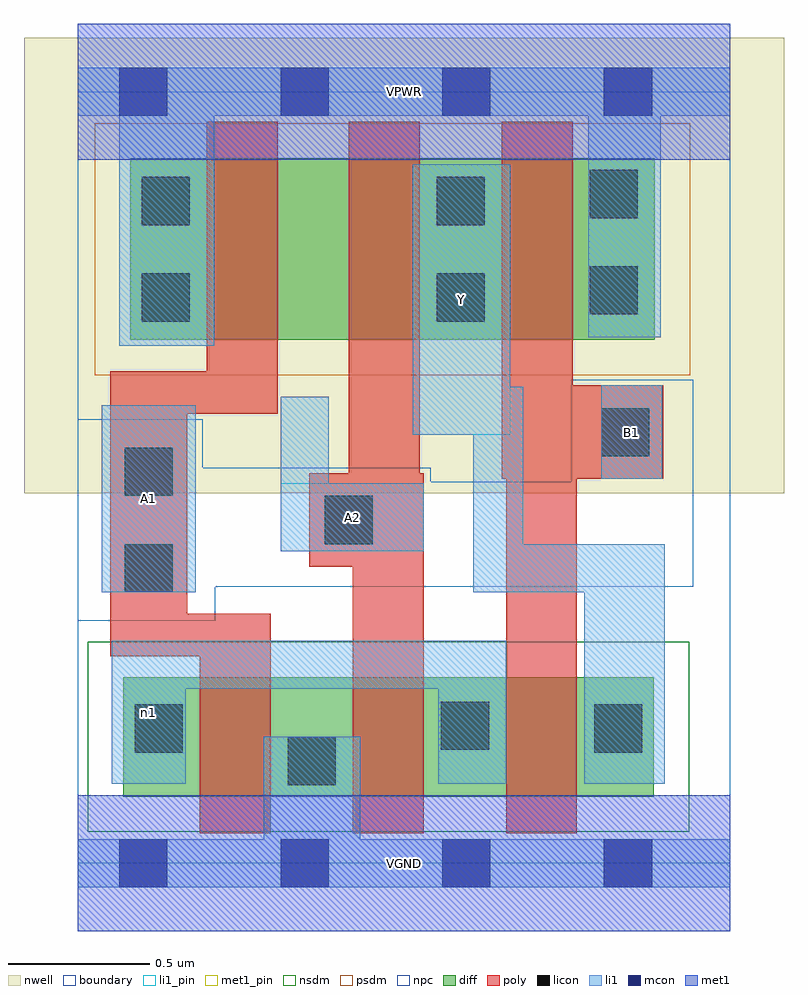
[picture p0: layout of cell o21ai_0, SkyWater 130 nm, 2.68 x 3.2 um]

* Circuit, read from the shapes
.subckt o21ai_0 A1 A2 B1 VGND VPWR Y n1
XM1 VGND A1 n1 VSUBS sky130_fd_pr__nfet_01v8 w=0.42 l=0.25
XM2 n1 A2 VGND VSUBS sky130_fd_pr__nfet_01v8 w=0.42 l=0.25
XM3 Y B1 n1 VSUBS sky130_fd_pr__nfet_01v8 w=0.42 l=0.25
XM4 n2 A1 VPWR n3 sky130_fd_pr__pfet_01v8 w=0.64 l=0.25
XM5 Y A2 n2 n3 sky130_fd_pr__pfet_01v8 w=0.64 l=0.25
XM6 VPWR B1 Y n3 sky130_fd_pr__pfet_01v8 w=0.64 l=0.25
.ends

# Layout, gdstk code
import gdstk
lib = gdstk.Library(unit=1e-6, precision=1e-09)
def R(c, l, rs):  # rectangles x0, y0, x1, y1
    for r in rs: c.add(gdstk.rectangle(r[:2], r[2:], *l))
def A(c, l, x, y, w, h, nx, ny, dx, dy):  # array of equal rectangles
    R(c, l, [(x+i*dx, y+j*dy, x+i*dx+w, y+j*dy+h) for i in range(nx) for j in range(ny)])
nwell = (64, 20)
diff = (65, 20)
poly = (66, 20)
licon = (66, 44)
li1_pin = (67, 16)
li1 = (67, 20)
mcon = (67, 44)
met1_pin = (68, 16)
met1 = (68, 20)
nsdm = (93, 44)
psdm = (94, 20)
npc = (95, 20)
boundary = (235, 4)

o21ai_0 = lib.new_cell('o21ai_0')
R(o21ai_0, nwell, [(-0.19,1.305,2.49,2.91), (0,1.305,2.3,2.91)])
R(o21ai_0, diff, [(0.16,0.235,2.03,0.655), (0.185,1.845,2.035,2.485)])
R(o21ai_0, poly, [(0.43,0.105,0.68,0.88), (0.97,0.105,1.22,1.375), (1.51,0.105,1.76,1.685), (0.115,0.73,0.385,1.735), (0.115,0.73,0.68,0.88), (0.815,1.045,1.22,1.375), (0.955,1.045,1.205,2.615), (1.495,1.355,1.745,2.615), (1.495,1.355,2.065,1.685), (0.115,1.585,0.705,1.735), (0.455,1.585,0.705,2.615)])
R(o21ai_0, licon, [(0.74,0.275,0.91,0.445), (0.2,0.39,0.37,0.56), (1.82,0.39,1.99,0.56), (1.28,0.4,1.45,0.57), (0.165,0.955,0.335,1.125), (0.87,1.125,1.04,1.295), (0.165,1.295,0.335,1.465), (1.845,1.435,2.015,1.605), (0.225,1.91,0.395,2.08), (1.265,1.91,1.435,2.08), (1.805,1.935,1.975,2.105), (0.225,2.25,0.395,2.42), (1.265,2.25,1.435,2.42), (1.805,2.275,1.975,2.445)])
R(o21ai_0, li1_pin, [(0.085,0.955,0.415,1.615), (0.715,1.1,1.22,1.34), (1.845,1.355,2.06,1.685), (1.18,1.51,1.525,2.465)])
R(o21ai_0, li1, [(0,-0.085,2.3,0.085), (0.655,-0.085,0.995,0.445), (0.12,0.28,0.38,0.785), (1.27,0.28,1.51,0.785), (1.785,0.28,2.07,1.125), (0.12,0.615,1.51,0.785), (0.085,0.955,0.415,1.615), (1.395,0.955,1.57,1.68), (1.395,0.955,2.07,1.125), (0.715,1.1,1.22,1.34), (0.715,1.1,0.885,1.645), (1.845,1.355,2.06,1.685), (1.18,1.51,1.525,2.465), (0.145,1.825,0.48,2.805), (1.8,1.855,2.055,2.805), (0,2.635,2.3,2.805)])
A(o21ai_0, mcon, 0.145, -0.085, 0.17, 0.17, 4, 2, 0.57, 2.72)
R(o21ai_0, met1_pin, [(0,-0.24,2.3,0.24), (0,2.48,2.3,2.96)])
R(o21ai_0, met1, [(0,-0.24,2.3,0.24), (0,2.48,2.3,2.96)])
R(o21ai_0, nsdm, [(0.035,0.11,2.155,0.78)])
R(o21ai_0, psdm, [(0.06,1.72,2.16,2.61)])
R(o21ai_0, npc, [(0,0.855,0.44,1.565), (0,0.855,0.485,1.395), (0,0.975,2.17,1.345), (0,0.975,1.245,1.395), (1.74,0.975,2.17,1.705)])
R(o21ai_0, boundary, [(0,0,2.3,2.72)])
o21ai_0.add(gdstk.Label('A1', (0.25,1.285), layer=67, texttype=5))
o21ai_0.add(gdstk.Label('A2', (0.967,1.22), layer=67, texttype=5))
o21ai_0.add(gdstk.Label('B1', (1.952,1.52), layer=67, texttype=5))
o21ai_0.add(gdstk.Label('Y', (1.352,1.987), layer=67, texttype=5))
o21ai_0.add(gdstk.Label('n1', (0.25,0.532), layer=67, texttype=5))
o21ai_0.add(gdstk.Label('VPWR', (1.15,2.72), layer=68, texttype=5))
o21ai_0.add(gdstk.Label('VGND', (1.15,0), layer=68, texttype=5))
o21ai_0.add(gdstk.Label('A1', (0.25,1.285), layer=67, texttype=16))
o21ai_0.add(gdstk.Label('A2', (0.967,1.22), layer=67, texttype=16))
o21ai_0.add(gdstk.Label('B1', (1.952,1.52), layer=67, texttype=16))
o21ai_0.add(gdstk.Label('Y', (1.352,1.987), layer=67, texttype=16))
o21ai_0.add(gdstk.Label('VPWR', (1.15,2.72), layer=68, texttype=16))
o21ai_0.add(gdstk.Label('VGND', (1.15,0), layer=68, texttype=16))

lib.write_gds('o21ai_0.gds')
